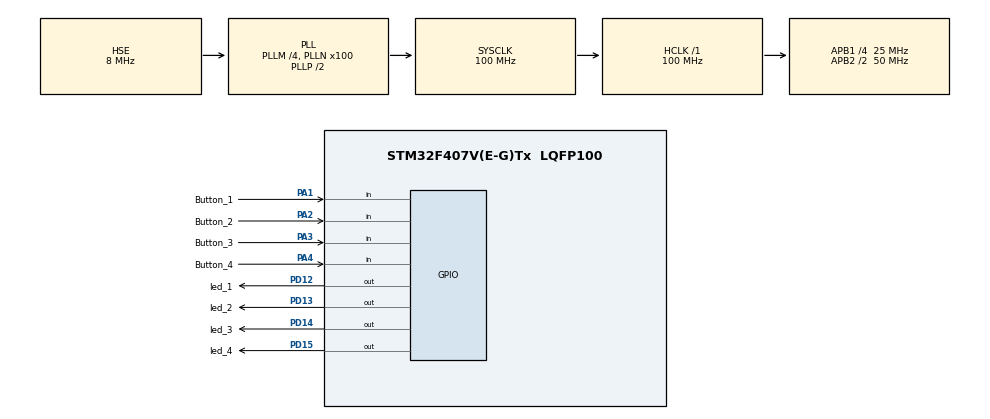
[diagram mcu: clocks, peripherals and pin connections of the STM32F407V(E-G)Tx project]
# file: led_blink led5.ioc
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Mcu.Family=STM32F4
Mcu.Name=STM32F407V(E-G)Tx
Mcu.Package=LQFP100
NVIC.PriorityGroup=NVIC_PRIORITYGROUP_4
PA1.GPIO_Label=Button_1
PA1.GPIO_PuPd=GPIO_PULLDOWN
PA1.Signal=GPIO_Input
PA2.GPIO_Label=Button_2
PA2.GPIO_PuPd=GPIO_NOPULL
PA2.Signal=GPIO_Input
PA3.GPIO_Label=Button_3
PA3.GPIO_PuPd=GPIO_NOPULL
PA3.Signal=GPIO_Input
PA4.GPIO_Label=Button_4
PA4.GPIO_PuPd=GPIO_NOPULL
PA4.Signal=GPIO_Input
PD12.GPIO_Label=led_1
PD12.Signal=GPIO_Output
PD13.GPIO_Label=led_2
PD13.Signal=GPIO_Output
PD14.GPIO_Label=led_3
PD14.Signal=GPIO_Output
PD15.GPIO_Label=led_4
PD15.Signal=GPIO_Output
PH0-OSC_IN.Mode=HSE-External-Oscillator
PH0-OSC_IN.Signal=RCC_OSC_IN
PH1-OSC_OUT.Mode=HSE-External-Oscillator
PH1-OSC_OUT.Signal=RCC_OSC_OUT
ProjectManager.HeapSize=0x200
ProjectManager.StackSize=0x400
ProjectManager.TargetToolchain=STM32CubeIDE
RCC.48MHZClocksFreq_Value=50000000
RCC.AHBFreq_Value=100000000
RCC.APB1CLKDivider=RCC_HCLK_DIV4
RCC.APB1Freq_Value=25000000
RCC.APB1TimFreq_Value=50000000
RCC.APB2CLKDivider=RCC_HCLK_DIV2
RCC.APB2Freq_Value=50000000
RCC.APB2TimFreq_Value=100000000
RCC.CortexFreq_Value=100000000
RCC.HCLKFreq_Value=100000000
RCC.HSE_VALUE=8000000
RCC.HSI_VALUE=16000000
RCC.LSE_VALUE=32768
RCC.PLLM=4
RCC.PLLN=100
RCC.PLLSourceVirtual=RCC_PLLSOURCE_HSE
RCC.SYSCLKFreq_VALUE=100000000
RCC.SYSCLKSource=RCC_SYSCLKSOURCE_PLLCLK
RCC.VCOOutputFreq_Value=200000000
board=custom

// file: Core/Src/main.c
/* USER CODE BEGIN Header */
/**
  ******************************************************************************
  * @file           : main.c
  * @brief          : Main program body
  ******************************************************************************
  * @attention
  *
  * Copyright (c) 2025 STMicroelectronics.
  * All rights reserved.
  *
  * This software is licensed under terms that can be found in the LICENSE file
  * in the root directory of this software component.
  * If no LICENSE file comes with this software, it is provided AS-IS.
  *
  ******************************************************************************
  */
/* USER CODE END Header */
#include "main.h"

void SystemClock_Config(void);
static void MX_GPIO_Init(void);

int main(void)
{

  /* MCU Configuration--------------------------------------------------------*/

  /* Reset of all peripherals, Initializes the Flash interface and the Systick. */
  HAL_Init();

  /* Configure the system clock */
  SystemClock_Config();

  /* Initialize all configured peripherals */
  MX_GPIO_Init();

  /* Infinite loop */
  /* USER CODE BEGIN WHILE */

  while (1)
  {
      if (HAL_GPIO_ReadPin(GPIOA, GPIO_PIN_1) == GPIO_PIN_SET)
      {
          switch (0)
          {
              case 0:
                  HAL_GPIO_TogglePin(GPIOD, GPIO_PIN_12); // LED1
                  HAL_Delay(300);
                  break;
          }
      }

      if (HAL_GPIO_ReadPin(GPIOA, GPIO_PIN_2) == GPIO_PIN_SET)
      {
          switch (1)
          {
              case 1:
                  HAL_GPIO_TogglePin(GPIOD, GPIO_PIN_13); // LED2
                  HAL_Delay(300);
                  break;
          }
      }

      if (HAL_GPIO_ReadPin(GPIOA, GPIO_PIN_3) == GPIO_PIN_SET)
      {
          switch (2)
          {
              case 2:
                  HAL_GPIO_TogglePin(GPIOD, GPIO_PIN_14); // LED3
                  HAL_Delay(300);
                  break;
          }
      }

      if (HAL_GPIO_ReadPin(GPIOA, GPIO_PIN_4) == GPIO_PIN_SET)
      {
          switch (3)
          {
              case 3:
                  HAL_GPIO_TogglePin(GPIOD, GPIO_PIN_15); // LED4
                  HAL_Delay(300);
                  break;

          }
      }
  }
}

    /* USER CODE END WHILE */

void SystemClock_Config(void)
{
  RCC_OscInitTypeDef RCC_OscInitStruct = {0};
  RCC_ClkInitTypeDef RCC_ClkInitStruct = {0};

  /** Configure the main internal regulator output voltage
  */
  __HAL_RCC_PWR_CLK_ENABLE();
  __HAL_PWR_VOLTAGESCALING_CONFIG(PWR_REGULATOR_VOLTAGE_SCALE1);

  /** Initializes the RCC Oscillators according to the specified parameters
  * in the RCC_OscInitTypeDef structure.
  */
  RCC_OscInitStruct.OscillatorType = RCC_OSCILLATORTYPE_HSE;
  RCC_OscInitStruct.HSEState = RCC_HSE_ON;
  RCC_OscInitStruct.PLL.PLLState = RCC_PLL_ON;
  RCC_OscInitStruct.PLL.PLLSource = RCC_PLLSOURCE_HSE;
  RCC_OscInitStruct.PLL.PLLM = 4;
  RCC_OscInitStruct.PLL.PLLN = 100;
  RCC_OscInitStruct.PLL.PLLP = RCC_PLLP_DIV2;
  RCC_OscInitStruct.PLL.PLLQ = 4;
  if (HAL_RCC_OscConfig(&RCC_OscInitStruct) != HAL_OK)
  {
    Error_Handler();
  }

  /** Initializes the CPU, AHB and APB buses clocks
  */
  RCC_ClkInitStruct.ClockType = RCC_CLOCKTYPE_HCLK|RCC_CLOCKTYPE_SYSCLK
                              |RCC_CLOCKTYPE_PCLK1|RCC_CLOCKTYPE_PCLK2;
  RCC_ClkInitStruct.SYSCLKSource = RCC_SYSCLKSOURCE_PLLCLK;
  RCC_ClkInitStruct.AHBCLKDivider = RCC_SYSCLK_DIV1;
  RCC_ClkInitStruct.APB1CLKDivider = RCC_HCLK_DIV4;
  RCC_ClkInitStruct.APB2CLKDivider = RCC_HCLK_DIV2;

  if (HAL_RCC_ClockConfig(&RCC_ClkInitStruct, FLASH_LATENCY_3) != HAL_OK)
  {
    Error_Handler();
  }
}

static void MX_GPIO_Init(void)
{
  GPIO_InitTypeDef GPIO_InitStruct = {0};

  /* GPIO Ports Clock Enable */
  __HAL_RCC_GPIOH_CLK_ENABLE();
  __HAL_RCC_GPIOA_CLK_ENABLE();
  __HAL_RCC_GPIOD_CLK_ENABLE();

  /*Configure GPIO pin Output Level */
  HAL_GPIO_WritePin(GPIOD, led_1_Pin|led_2_Pin|led_3_Pin|led_4_Pin, GPIO_PIN_RESET);

  /*Configure GPIO pin : Button_1_Pin */
  GPIO_InitStruct.Pin = Button_1_Pin;
  GPIO_InitStruct.Mode = GPIO_MODE_INPUT;
  GPIO_InitStruct.Pull = GPIO_PULLDOWN;
  HAL_GPIO_Init(Button_1_GPIO_Port, &GPIO_InitStruct);

  /*Configure GPIO pins : Button_2_Pin Button_3_Pin Button_4_Pin */
  GPIO_InitStruct.Pin = Button_2_Pin|Button_3_Pin|Button_4_Pin;
  GPIO_InitStruct.Mode = GPIO_MODE_INPUT;
  GPIO_InitStruct.Pull = GPIO_NOPULL;
  HAL_GPIO_Init(GPIOA, &GPIO_InitStruct);

  /*Configure GPIO pins : led_1_Pin led_2_Pin led_3_Pin led_4_Pin */
  GPIO_InitStruct.Pin = led_1_Pin|led_2_Pin|led_3_Pin|led_4_Pin;
  GPIO_InitStruct.Mode = GPIO_MODE_OUTPUT_PP;
  GPIO_InitStruct.Pull = GPIO_NOPULL;
  GPIO_InitStruct.Speed = GPIO_SPEED_FREQ_LOW;
  HAL_GPIO_Init(GPIOD, &GPIO_InitStruct);

}

void Error_Handler(void)
{
  __disable_irq();
  while (1)
  {
  }
}
